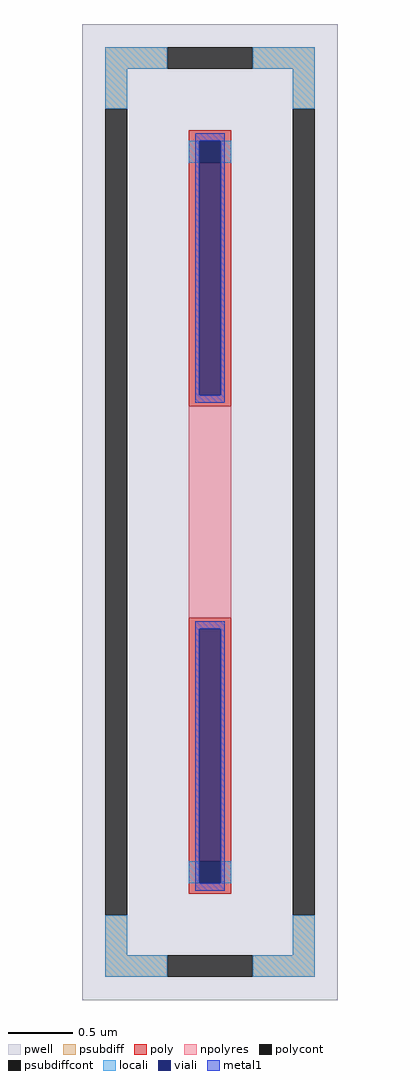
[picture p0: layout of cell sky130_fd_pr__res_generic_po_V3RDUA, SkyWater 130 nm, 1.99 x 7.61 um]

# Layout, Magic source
magic
tech sky130A
magscale 1 2
<< pwell >>
rect -199 -761 199 761
<< psubdiff >>
rect -163 691 -67 725
rect 67 691 163 725
rect -163 629 -129 691
rect 129 629 163 691
rect -163 -691 -129 -629
rect 129 -691 163 -629
rect -163 -725 -67 -691
rect 67 -725 163 -691
<< psubdiffcont >>
rect -67 691 67 725
rect -163 -629 -129 629
rect 129 -629 163 629
rect -67 -725 67 -691
<< poly >>
rect -33 579 33 595
rect -33 545 -17 579
rect 17 545 33 579
rect -33 165 33 545
rect -33 -545 33 -165
rect -33 -579 -17 -545
rect 17 -579 33 -545
rect -33 -595 33 -579
<< polycont >>
rect -17 545 17 579
rect -17 -579 17 -545
<< npolyres >>
rect -33 -165 33 165
<< locali >>
rect -163 691 -67 725
rect 67 691 163 725
rect -163 629 -129 691
rect 129 629 163 691
rect -33 545 -17 579
rect 17 545 33 579
rect -33 -579 -17 -545
rect 17 -579 33 -545
rect -163 -691 -129 -629
rect 129 -691 163 -629
rect -163 -725 -67 -691
rect 67 -725 163 -691
<< viali >>
rect -17 545 17 579
rect -17 182 17 545
rect -17 -545 17 -182
rect -17 -579 17 -545
<< metal1 >>
rect -23 579 23 591
rect -23 182 -17 579
rect 17 182 23 579
rect -23 170 23 182
rect -23 -182 23 -170
rect -23 -579 -17 -182
rect 17 -579 23 -182
rect -23 -591 23 -579
<< properties >>
string FIXED_BBOX -146 -708 146 708
string gencell sky130_fd_pr__res_generic_po
string library sky130
string parameters w 0.330 l 1.650 m 1 nx 1 wmin 0.330 lmin 1.650 rho 48.2 val 241.0 dummy 0 dw 0.0 term 0.0 sterm 0.0 caplen 0.4 snake 0 guard 1 glc 1 grc 1 gtc 1 gbc 1 roverlap 0 endcov 100 full_metal 1 hv_guard 0 n_guard 0 vias 1 viagb 0 viagt 0 viagl 0 viagr 0
<< end >>
